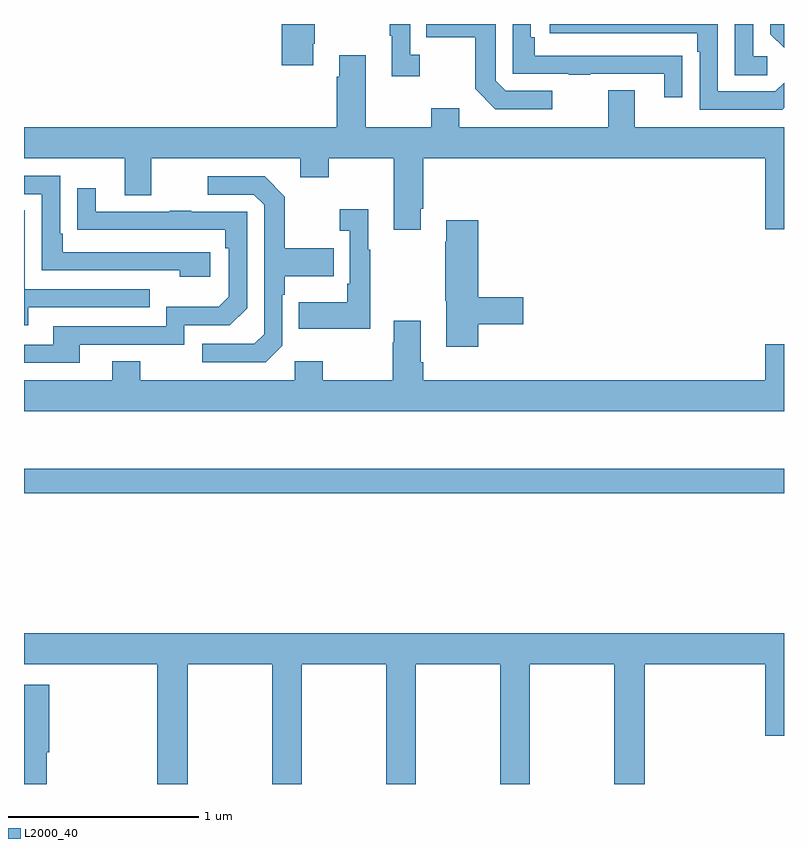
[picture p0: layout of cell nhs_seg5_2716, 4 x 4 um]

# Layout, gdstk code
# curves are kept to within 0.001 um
import gdstk
lib = gdstk.Library(unit=1e-6, precision=1e-09)
def R(c, l, rs):  # rectangles x0, y0, x1, y1
    for r in rs: c.add(gdstk.rectangle(r[:2], r[2:], *l))
def P(c, l, *ps):  # polygons
    for p in ps: c.add(gdstk.Polygon(p, *l))
L2000_40 = (2000, 40)

nhs_seg5_2716 = lib.new_cell('nhs_seg5_2716')
R(nhs_seg5_2716, L2000_40, [(269,856.33,273,856.459)])
P(nhs_seg5_2716, L2000_40, [(270.523,858.694),(270.531,858.694),(270.531,858.799),(270.356,858.799),(270.356,858.582),(270.523,858.582)],
  [(273,858.799),(272.928,858.799),(272.928,858.746),(273,858.674)],
  [(271.084,858.638),(271.032,858.638),(271.032,858.799),(270.924,858.799),(270.924,858.737),(270.935,858.737),(270.935,858.525),(271.084,858.525)],
  [(272.911,858.63),(272.838,858.63),(272.838,858.799),(272.742,858.799),(272.742,858.529),(272.911,858.529)],
  [(273,858.357),(273,858.489),(272.955,858.444),(272.652,858.444),(272.652,858.799),(271.767,858.799),(271.767,858.75),(272.543,858.75),(272.543,858.653),(272.556,858.653),(272.556,858.348),(272.991,858.348)],
  [(272.465,858.632),(272.363,858.632),(272.363,858.633),(271.688,858.633),(271.688,858.73),(271.668,858.73),(271.668,858.799),(271.572,858.799),(271.572,858.537),(271.867,858.537),(271.867,858.532),(271.979,858.532),(271.979,858.537),(272.369,858.537),(272.369,858.414),(272.465,858.414)],
  [(271.78,858.447),(271.536,858.447),(271.482,858.501),(271.482,858.799),(271.117,858.799),(271.117,858.73),(271.374,858.73),(271.374,858.457),(271.479,858.351),(271.78,858.351)],
  [(271.087,857.827),(271.1,857.827),(271.1,858.092),(272.9,858.092),(272.9,857.718),(273,857.718),(273,858.256),(272.215,858.256),(272.215,858.451),(272.075,858.451),(272.075,858.256),(271.291,858.256),(271.291,858.355),(271.144,858.355),(271.144,858.256),(270.799,858.256),(270.799,858.634),(270.659,858.634),(270.659,858.521),(270.647,858.521),(270.647,858.256),(269,858.256),(269,858.092),(269.531,858.092),(269.531,857.898),(269.671,857.898),(269.671,858.092),(270.455,858.092),(270.455,857.993),(270.603,857.993),(270.603,858.092),(270.947,858.092),(270.947,857.715),(271.087,857.715)],
  [(269.98,857.598),(269.203,857.598),(269.203,857.695),(269.19,857.695),(269.19,858),(269,858),(269,857.904),(269.094,857.904),(269.094,857.502),(269.819,857.502),(269.819,857.468),(269.98,857.468)],
  [(270.36,857.106),(270.36,857.375),(270.373,857.375),(270.373,857.471),(270.629,857.471),(270.629,857.619),(270.373,857.619),(270.373,857.891),(270.267,857.997),(269.967,857.997),(269.967,857.901),(270.21,857.901),(270.264,857.847),(270.264,857.166),(270.213,857.115),(269.937,857.115),(269.937,857.019),(270.273,857.019)],
  [(269.293,857.112),(269.844,857.112),(269.844,857.214),(270.084,857.214),(270.174,857.304),(270.174,857.811),(269.879,857.811),(269.879,857.816),(269.767,857.816),(269.767,857.811),(269.377,857.811),(269.377,857.935),(269.281,857.935),(269.281,857.716),(270.058,857.715),(270.058,857.618),(270.078,857.618),(270.078,857.364),(270.025,857.311),(269.748,857.311),(269.748,857.208),(269.153,857.208),(269.153,857.112),(269,857.112),(269,857.016),(269.293,857.016)],
  [(270.823,857.611),(270.811,857.611),(270.811,857.824),(270.663,857.824),(270.663,857.711),(270.714,857.711),(270.714,857.431),(270.702,857.431),(270.702,857.335),(270.445,857.335),(270.445,857.195),(270.823,857.195)],
  [(269.023,857.307),(269.663,857.307),(269.663,857.403),(269.004,857.403),(269.004,857.819),(269,857.819),(269,857.213),(269.023,857.213)],
  [(271.391,857.218),(271.627,857.218),(271.627,857.36),(271.391,857.36),(271.391,857.767),(271.223,857.767),(271.223,857.654),(271.216,857.654),(271.216,857.343),(271.223,857.343),(271.223,857.1),(271.391,857.1)],
  [(273,857.113),(272.9,857.113),(272.9,856.924),(271.1,856.924),(271.1,857.02),(271.087,857.02),(271.087,857.236),(270.947,857.236),(270.947,857.123),(270.94,857.123),(270.94,856.924),(270.573,856.924),(270.573,857.023),(270.426,857.023),(270.426,856.924),(269.613,856.924),(269.613,857.023),(269.465,857.023),(269.465,856.924),(269,856.924),(269,856.76),(273,856.76)],
  [(269.862,855.428),(270.307,855.428),(270.307,854.799),(270.462,854.799),(270.462,855.428),(270.907,855.428),(270.907,854.799),(271.062,854.799),(271.062,855.428),(271.507,855.428),(271.507,854.799),(271.662,854.799),(271.662,855.428),(272.107,855.428),(272.107,854.799),(272.267,854.799),(272.267,855.428),(272.9,855.428),(272.9,855.054),(273,855.054),(273,855.592),(269,855.592),(269,855.428),(269.702,855.428),(269.702,854.799),(269.862,854.799)],
  [(269.119,854.966),(269.132,854.966),(269.132,855.322),(269,855.322),(269,854.799),(269.119,854.799)])

lib.write_gds('nhs_seg5_2716.gds')
